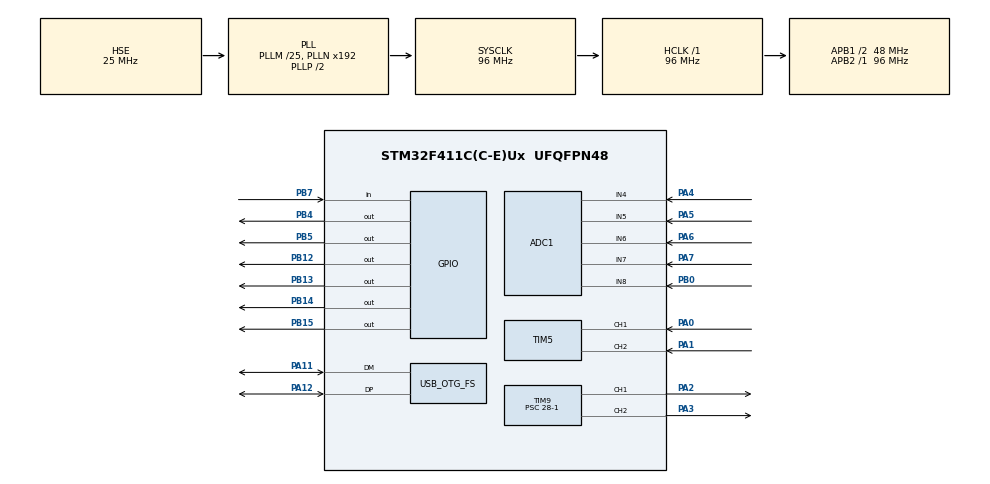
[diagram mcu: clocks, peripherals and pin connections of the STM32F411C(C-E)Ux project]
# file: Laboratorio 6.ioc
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ADC1.Channel-1\#ChannelRegularConversion=ADC_CHANNEL_4
ADC1.Channel-2\#ChannelRegularConversion=ADC_CHANNEL_5
ADC1.Channel-3\#ChannelRegularConversion=ADC_CHANNEL_6
ADC1.Channel-4\#ChannelRegularConversion=ADC_CHANNEL_7
ADC1.Channel-5\#ChannelRegularConversion=ADC_CHANNEL_8
ADC1.NbrOfConversion=5
ADC1.NbrOfConversionFlag=1
ADC1.Rank-1\#ChannelRegularConversion=1
ADC1.Rank-2\#ChannelRegularConversion=2
ADC1.Rank-3\#ChannelRegularConversion=3
ADC1.Rank-4\#ChannelRegularConversion=4
ADC1.Rank-5\#ChannelRegularConversion=5
ADC1.SamplingTime-1\#ChannelRegularConversion=ADC_SAMPLETIME_3CYCLES
ADC1.SamplingTime-2\#ChannelRegularConversion=ADC_SAMPLETIME_3CYCLES
ADC1.SamplingTime-3\#ChannelRegularConversion=ADC_SAMPLETIME_3CYCLES
ADC1.SamplingTime-4\#ChannelRegularConversion=ADC_SAMPLETIME_3CYCLES
ADC1.SamplingTime-5\#ChannelRegularConversion=ADC_SAMPLETIME_3CYCLES
ADC1.ScanConvMode=ENABLE
ADC1.master=1
Dma.ADC1.0.Direction=DMA_PERIPH_TO_MEMORY
Dma.ADC1.0.FIFOMode=DMA_FIFOMODE_DISABLE
Dma.ADC1.0.Instance=DMA2_Stream0
Dma.ADC1.0.MemDataAlignment=DMA_MDATAALIGN_HALFWORD
Dma.ADC1.0.MemInc=DMA_MINC_ENABLE
Dma.ADC1.0.Mode=DMA_CIRCULAR
Dma.ADC1.0.PeriphDataAlignment=DMA_PDATAALIGN_HALFWORD
Dma.ADC1.0.PeriphInc=DMA_PINC_DISABLE
Dma.ADC1.0.Priority=DMA_PRIORITY_LOW
Dma.Request0=ADC1
Mcu.Family=STM32F4
Mcu.Name=STM32F411C(C-E)Ux
Mcu.Package=UFQFPN48
NVIC.DMA2_Stream0_IRQn=true\:0\:0\:false\:false\:true\:false\:true\:true
NVIC.OTG_FS_IRQn=true\:0\:0\:false\:false\:true\:false\:true\:true
NVIC.PriorityGroup=NVIC_PRIORITYGROUP_4
PA0-WKUP.Signal=S_TIM5_CH1
PA1.Signal=S_TIM5_CH2
PA11.Mode=Device_Only
PA11.Signal=USB_OTG_FS_DM
PA12.Mode=Device_Only
PA12.Signal=USB_OTG_FS_DP
PA13.Mode=Serial_Wire
PA13.Signal=SYS_JTMS-SWDIO
PA14.Mode=Serial_Wire
PA14.Signal=SYS_JTCK-SWCLK
PA2.Signal=S_TIM9_CH1
PA3.Signal=S_TIM9_CH2
PA4.Signal=ADCx_IN4
PA5.Signal=ADCx_IN5
PA6.Signal=ADCx_IN6
PA7.Signal=ADCx_IN7
PB0.Signal=ADCx_IN8
PB12.Signal=GPIO_Output
PB13.Signal=GPIO_Output
PB14.Signal=GPIO_Output
PB15.Signal=GPIO_Output
PB4.Signal=GPIO_Output
PB5.Signal=GPIO_Output
PB7.Signal=GPIO_Input
PH0\ -\ OSC_IN.Mode=HSE-External-Oscillator
PH0\ -\ OSC_IN.Signal=RCC_OSC_IN
PH1\ -\ OSC_OUT.Mode=HSE-External-Oscillator
PH1\ -\ OSC_OUT.Signal=RCC_OSC_OUT
ProjectManager.HeapSize=0x200
ProjectManager.StackSize=0x400
ProjectManager.TargetToolchain=STM32CubeIDE
RCC.48MHZClocksFreq_Value=48000000
RCC.AHBFreq_Value=96000000
RCC.APB1CLKDivider=RCC_HCLK_DIV2
RCC.APB1Freq_Value=48000000
RCC.APB1TimFreq_Value=96000000
RCC.APB2Freq_Value=96000000
RCC.APB2TimFreq_Value=96000000
RCC.CortexFreq_Value=96000000
RCC.HCLKFreq_Value=96000000
RCC.HSE_VALUE=25000000
RCC.HSI_VALUE=16000000
RCC.LSE_VALUE=32768
RCC.PLLM=25
RCC.SYSCLKFreq_VALUE=96000000
RCC.SYSCLKSource=RCC_SYSCLKSOURCE_PLLCLK
RCC.VCOOutputFreq_Value=192000000
SH.ADCx_IN4.0=ADC1_IN4,IN4
SH.ADCx_IN5.0=ADC1_IN5,IN5
SH.ADCx_IN6.0=ADC1_IN6,IN6
SH.ADCx_IN7.0=ADC1_IN7,IN7
SH.ADCx_IN8.0=ADC1_IN8,IN8
SH.S_TIM5_CH1.0=TIM5_CH1,Encoder_Interface
SH.S_TIM5_CH2.0=TIM5_CH2,Encoder_Interface
SH.S_TIM9_CH1.0=TIM9_CH1,PWM Generation1 CH1
SH.S_TIM9_CH2.0=TIM9_CH2,PWM Generation2 CH2
TIM2.Prescaler=48000-1
TIM3.Prescaler=48000-1
TIM4.Prescaler=48000-1
TIM5.EncoderMode=TIM_ENCODERMODE_TI12
TIM5.IC1Filter=15
TIM5.IC1Polarity=TIM_ICPOLARITY_FALLING
TIM5.IC2Filter=15
TIM5.IC2Polarity=TIM_ICPOLARITY_FALLING
TIM9.Channel-PWM\ Generation1\ CH1=TIM_CHANNEL_1
TIM9.Channel-PWM\ Generation2\ CH2=TIM_CHANNEL_2
TIM9.Period=100-1
TIM9.Prescaler=28-1
USB_DEVICE.CLASS_NAME_FS=CDC
USB_DEVICE.VirtualMode=Cdc
USB_DEVICE.VirtualModeFS=Cdc_FS
USB_OTG_FS.VirtualMode=Device_Only
VP_TIM2_VS_ClockSourceINT.Mode=Internal
VP_TIM3_VS_ClockSourceINT.Mode=Internal
VP_TIM4_VS_ClockSourceINT.Mode=Internal
VP_TIM9_VS_ClockSourceINT.Mode=Internal
VP_USB_DEVICE_VS_USB_DEVICE_CDC_FS.Mode=CDC_FS
board=custom

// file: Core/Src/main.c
/* USER CODE BEGIN Header */
/**
  ******************************************************************************
  * @file           : main.c
  * @brief          : Main program body
  ******************************************************************************
  * @attention
  *
  * Copyright (c) 2025 STMicroelectronics.
  * All rights reserved.
  *
  * This software is licensed under terms that can be found in the LICENSE file
  * in the root directory of this software component.
  * If no LICENSE file comes with this software, it is provided AS-IS.
  *
  ******************************************************************************
  */
/* USER CODE END Header */
#include "main.h"
#include "usb_device.h"

/* USER CODE BEGIN Includes */
#include "usbd_cdc_if.h"
#include "motorDriver.h"
#include <math.h>
/* USER CODE END Includes */

ADC_HandleTypeDef hadc1;
DMA_HandleTypeDef hdma_adc1;

TIM_HandleTypeDef htim2;
TIM_HandleTypeDef htim3;
TIM_HandleTypeDef htim4;
TIM_HandleTypeDef htim5;
TIM_HandleTypeDef htim9;

void SystemClock_Config(void);
static void MX_GPIO_Init(void);
static void MX_DMA_Init(void);
static void MX_TIM2_Init(void);
static void MX_TIM3_Init(void);
static void MX_TIM5_Init(void);
static void MX_TIM9_Init(void);
static void MX_ADC1_Init(void);
static void MX_TIM4_Init(void);

/* USER CODE BEGIN 0 */
uint8_t buffer[63];
int16_t rpm = 0;
uint8_t set= 1;
float pulsos = 0;
uint32_t tiempo = 0;
int32_t dir_mm;
int16_t pwm_mm = 0;
int32_t val_pwm = 0;
float pulsos_ant = 0;
float pulsos_act = 0;
int32_t contador = 0;
int16_t rpm_f = 0;
float diametro_rueda = 38.2;
int16_t velocidad_mm_s = 0;
int16_t velocidad_rad_s = 0;
int32_t valor;
int32_t voltaje;
int16_t vel_mm_s;
int8_t velocidad_motor;

#define FILTER_LENGTH 10
float fir_coeffs[FILTER_LENGTH] = {0.1, 0.1, 0.1, 0.1, 0.1, 0.1, 0.1, 0.1, 0.1, 0.1};
float rpm_buffer[FILTER_LENGTH];
int buffer_index = 0;
int32_t contador_actual = 0;
float voltaje_float;

volatile uint8_t indexTX = 0;
volatile uint8_t datosTX [68];
volatile uint8_t indexRX = 0;
volatile uint8_t datosRX [15];

//6 lab

float distancias_mm[] = {20, 25, 30, 35, 40, 45, 50, 55, 60, 65, 70, 75, 80, 85, 90, 95, 100,
                         105, 110, 115, 120, 125, 130, 135, 140, 145, 150, 155, 160, 165,
                         170, 175, 180, 185, 190, 195, 200, 205, 210, 215, 220};
int num_puntos = 41;

uint16_t adc_sensor1[] = {2580, 2279, 1972, 1606, 1372, 1160, 998, 838, 684, 582, 506, 435,
        				  373, 335, 333, 303, 277, 253, 228, 209, 193, 180, 167, 161, 155,
						  147, 140, 136, 132, 130, 128, 124, 127, 124, 122, 122, 119, 118, 118, 118, 117};
uint16_t adc_sensor2[] = {925, 849, 752, 650, 589, 517, 479, 424, 367, 333, 306, 264,
                          250, 224, 223, 205, 189, 183, 174, 161, 150, 143, 134, 130,
                          127, 122, 116, 116, 114, 113, 115, 120, 118, 121, 121, 119, 120,
                          119, 119, 119, 120};
uint16_t adc_sensor3[] = {1071, 891, 727, 557, 464, 377, 324, 274, 242, 213, 197, 173,
                          173, 166, 166, 158, 148, 144, 140, 130, 129, 124, 121, 121,
                          123, 124, 127, 124, 124, 122, 119, 118, 120, 117, 119, 122, 120,
                          119, 119, 119, 119};
uint16_t adc_sensor4[] = {3497, 3025, 2412, 1873, 1583, 1313, 1119, 969, 809, 717, 643, 575,
                          527, 492, 4491, 467, 446, 427, 411, 392, 380, 374, 360, 356,
                          350, 340, 339, 334, 331, 329, 326, 324, 326, 326, 323, 321, 319,
                          319, 318, 316, 316};

uint16_t adcValue[5] = {0,0,0,0,0};
uint16_t adcMM[5] = {0,0,0,0,0};
float adcVoltaje[5] = {0,0,0,0,0};
char texto[64];

#define ADC_BUFFER_SIZE 10
uint16_t adc_buffer[5][ADC_BUFFER_SIZE] = {0};
uint8_t adc_buffer_index = 0;

float adc_avg[5] = {0,0,0,0,0};
uint8_t muestras = 0;

typedef struct {
	uint8_t inicio;
	uint8_t tamano;
	uint8_t *datos;
	uint8_t crc;
	uint8_t fin;

}PAQUETE;

PAQUETE pk1;

int16_t aplicarFiltroFIR(int16_t RPM_actual);
int8_t serializarPaquete(const PAQUETE* paquete, uint8_t *buffer);

uint8_t calcularCRC(uint8_t *datos, uint8_t tam){
	uint8_t crc =0;
	for(int i = 0; i < tam; i++ ){
		crc ^= datos[i];
	}
	return crc;
}

void datos_enviar(int16_t rev, int32_t contador, uint32_t tiempo, int16_t mm_s, int16_t rad_s,
                  uint16_t adc1, uint16_t adc2, uint16_t adc3, uint16_t adc4,
                  float volt1, float volt2, float volt3, float volt4,
                  uint16_t dist1, uint16_t dist2, uint16_t dist3, uint16_t dist4) {

    int idxx = 0;

    buffer[idxx++] = 1;
    buffer[idxx++] = (rev >> 8) & 0xFF;
    buffer[idxx++] = rev & 0xFF;

    buffer[idxx++] = 2;
    buffer[idxx++] = (contador >> 24) & 0xFF;
    buffer[idxx++] = (contador >> 16) & 0xFF;
    buffer[idxx++] = (contador >> 8) & 0xFF;
    buffer[idxx++] = contador & 0xFF;

    buffer[idxx++] = 3;
    buffer[idxx++] = (tiempo >> 24) & 0xFF;
    buffer[idxx++] = (tiempo >> 16) & 0xFF;
    buffer[idxx++] = (tiempo >> 8) & 0xFF;
    buffer[idxx++] = tiempo & 0xFF;

    buffer[idxx++] = 4;
    buffer[idxx++] = (mm_s >> 8) & 0xFF;
    buffer[idxx++] = mm_s & 0xFF;

    buffer[idxx++] = 5;
    buffer[idxx++] = (rad_s >> 8) & 0xFF;
    buffer[idxx++] = rad_s & 0xFF;

    buffer[idxx++] = 6;
    buffer[idxx++] = (adc1 >> 8) & 0xFF;
    buffer[idxx++] = adc1 & 0xFF;

    buffer[idxx++] = 7;
    buffer[idxx++] = (adc2 >> 8) & 0xFF;
    buffer[idxx++] = adc2 & 0xFF;

    buffer[idxx++] = 8;
    buffer[idxx++] = (adc3 >> 8) & 0xFF;
    buffer[idxx++] = adc3 & 0xFF;

    buffer[idxx++] = 9;
    buffer[idxx++] = (adc4 >> 8) & 0xFF;
    buffer[idxx++] = adc4 & 0xFF;

    buffer[idxx++] = 10;
    uint8_t* volt1_bytes = (uint8_t*)&volt1;
    buffer[idxx++] = volt1_bytes[0];
    buffer[idxx++] = volt1_bytes[1];
    buffer[idxx++] = volt1_bytes[2];
    buffer[idxx++] = volt1_bytes[3];

    buffer[idxx++] = 11;
    uint8_t* volt2_bytes = (uint8_t*)&volt2;
    buffer[idxx++] = volt2_bytes[0];
    buffer[idxx++] = volt2_bytes[1];
    buffer[idxx++] = volt2_bytes[2];
    buffer[idxx++] = volt2_bytes[3];

    buffer[idxx++] = 12;
    uint8_t* volt3_bytes = (uint8_t*)&volt3;
    buffer[idxx++] = volt3_bytes[0];
    buffer[idxx++] = volt3_bytes[1];
    buffer[idxx++] = volt3_bytes[2];
    buffer[idxx++] = volt3_bytes[3];

    buffer[idxx++] = 13;
    uint8_t* volt4_bytes = (uint8_t*)&volt4;
    buffer[idxx++] = volt4_bytes[0];
    buffer[idxx++] = volt4_bytes[1];
    buffer[idxx++] = volt4_bytes[2];
    buffer[idxx++] = volt4_bytes[3];

    buffer[idxx++] = 14;
    buffer[idxx++] = (dist1 >> 8) & 0xFF;
    buffer[idxx++] = dist1 & 0xFF;

    buffer[idxx++] = 15;
    buffer[idxx++] = (dist2 >> 8) & 0xFF;
    buffer[idxx++] = dist2 & 0xFF;

    buffer[idxx++] = 16;
    buffer[idxx++] = (dist3 >> 8) & 0xFF;
    buffer[idxx++] = dist3 & 0xFF;

    buffer[idxx++] = 17;
    buffer[idxx++] = (dist4 >> 8) & 0xFF;
    buffer[idxx++] = dist4 & 0xFF;

    EnviarPaquete(buffer, idxx);
}

void EnviarPaquete(uint8_t *dat, uint8_t tam){
	pk1.inicio = 0x09;
	pk1.tamano = tam + 4; //(OverHead)
	//memcpy (&pk1.datos[0], dat, tam+4);
	pk1.datos = dat;
	pk1.crc = 0x00;
	pk1.fin = 0x07;

	int numDatos = serializarPaquete(&pk1, datosTX);
	CDC_Transmit_FS(datosTX, numDatos);
}

int8_t serializarPaquete(const PAQUETE* paquete, uint8_t *buffer){

	int idx=0;

	if(!paquete || !buffer)return -1;

	buffer [idx++]= paquete -> inicio;
	buffer [idx++]= paquete -> tamano;
	if(paquete -> datos && paquete -> tamano > 3){
		memcpy( & buffer[idx], paquete -> datos, paquete -> tamano - 3);
		idx = idx + paquete -> tamano - 3;
	}
	uint8_t ss = idx;
	buffer[idx++] = calcularCRC(buffer, ss);
	buffer[idx++] = paquete -> fin;
	return idx;
}

void CDC_ReceiveCallBack(uint8_t* Buf, uint32_t Len){
	memcpy(datosRX,Buf, Len);
	indexRX = Len;
}

void vel(int16_t rpm_s) {
    velocidad_mm_s = (3.1416 * diametro_rueda * rpm_s) / 60.0;
    velocidad_rad_s = (2 * 3.1416 * rpm_s) / 60.0;
}

void calculo_rpm() {
    if (set == 1) {
        __HAL_TIM_SET_COUNTER(&htim3, 0);
        set = 0;
    }

    if (__HAL_TIM_GET_COUNTER(&htim3) >= 200) {
        __HAL_TIM_SET_COUNTER(&htim3, 0);

        contador_actual = (int32_t)__HAL_TIM_GET_COUNTER(&htim5);
        pulsos_act = abs(contador_actual) / 1431.0;
        pulsos = pulsos_act - pulsos_ant;
        pulsos_ant = pulsos_act;

        rpm = abs(pulsos * 600);
        if (rpm < 0) rpm = 0;
        rpm_f = aplicarFiltroFIR(rpm);
        vel(rpm_f);
    }
}

void conversor(float volt){

    if (volt < 0){
    	volt = 0;
    }
    else if (volt > 7.5){
    	volt = 7.5;
    }
    else{
     val_pwm = (int32_t)((volt * (-100)) / (7.5));
    }

}

void conversor_mm_s(int32_t velocidad) {

    if (velocidad > 744){
    	velocidad = 744;
    }

    pwm_mm = ((velocidad*100) / 744) * (-1);
}

void instruction(){

	if(indexRX != 0){
		  if(datosRX[0] == 0x0A){
			  velocidad_motor = 100;
			  motores(0, velocidad_motor);
		  }
		  else if(datosRX[0] == 0x0B){
			  velocidad_motor = -100;
			  motores(0, velocidad_motor);
		  }
		  else if(datosRX[0] == 0x0C){
			  velocidad_motor = 0;
			  motores(0, velocidad_motor);
		  }
		  else if(datosRX[0] == 0x09){
			  valor = (datosRX[1]);

			  velocidad_motor = valor * (-1);
			  motores(0, velocidad_motor);
		  }
		  else if(datosRX[0] == 0x07){

			  memcpy(&voltaje_float, &datosRX[1], sizeof(float));

			  if (voltaje_float < 0) {
				  voltaje_float = 0;
			  }
			  else if (voltaje_float > 7.5) {
				  voltaje_float = 7.5;
			  }

			  conversor(voltaje_float);
			  velocidad_motor = val_pwm;
			  motores(0, velocidad_motor);
		  }
		  else if(datosRX[0] == 0x08){
			  vel_mm_s =(datosRX[1] << 8) | (datosRX[2]);

			  conversor_mm_s(vel_mm_s);
			  velocidad_motor = pwm_mm;
			  motores(0, velocidad_motor);
		  }

	}
}

int16_t aplicarFiltroFIR(int16_t rpm_actual){
	rpm_buffer[buffer_index] = rpm_actual;
	buffer_index = (buffer_index + 1) % FILTER_LENGTH;

	float filtered_rpm = 0.0;
	for (int i = 0; i < FILTER_LENGTH; i++) {
		int idx = (buffer_index - i + FILTER_LENGTH) % FILTER_LENGTH;
		filtered_rpm += fir_coeffs[i] * rpm_buffer[idx];
	}
	return filtered_rpm;
}

void promedio_adc(void) {
    for(int i = 0; i < 5; i++) {
        adc_buffer[i][adc_buffer_index] = adcValue[i];
    }

    adc_buffer_index++;
    muestras++;

    if(muestras >= ADC_BUFFER_SIZE) {
        for(int i = 0; i < 5; i++) {
            uint32_t sum = 0;
            for(int j = 0; j < ADC_BUFFER_SIZE; j++) {
                sum += adc_buffer[i][j];
            }
            adc_avg[i] = (float)sum / ADC_BUFFER_SIZE;
            adcVoltaje[i] = (adc_avg[i] * 3.3) / 4095.0;
        }

        adc_buffer_index = 0;
        muestras = 0;
    }
}

int abc;
void calibracion(){
	int vrb = 0;
	__HAL_TIM_SET_COUNTER(&htim4 , 0);
	abc=__HAL_TIM_GET_COUNTER(&htim4);
	while (abc >= 0) {
		HAL_GPIO_WritePin(GPIOB, GPIO_PIN_12, 1);

		while ((abc=__HAL_TIM_GET_COUNTER(&htim4)) >= 2) {
			HAL_GPIO_WritePin(GPIOB, GPIO_PIN_12, 0);
			HAL_GPIO_WritePin(GPIOB, GPIO_PIN_13, 1);

			while ((abc=__HAL_TIM_GET_COUNTER(&htim4)) >= 4) {
				HAL_GPIO_WritePin(GPIOB, GPIO_PIN_13, 0);
				HAL_GPIO_WritePin(GPIOB, GPIO_PIN_14, 1);

				while ((abc=__HAL_TIM_GET_COUNTER(&htim4)) >= 6) {
					HAL_GPIO_WritePin(GPIOB, GPIO_PIN_14, 0);
					HAL_GPIO_WritePin(GPIOB, GPIO_PIN_15, 1);

					if ((abc=__HAL_TIM_GET_COUNTER(&htim4)) >= 8) {
						HAL_GPIO_WritePin(GPIOB, GPIO_PIN_15, 0);
						vrb = 1;
						break;

					}
				}

				if(vrb == 1){
					break;
				}

			}

			if(vrb == 1){
				break;
			}
		}

		if(vrb == 1){
			break;
		}
	}

}

float interpolar_distancia(uint16_t adc_recibido, uint16_t *adc_tabla, float *distancias, int num_puntos) {
    if (adc_recibido >= adc_tabla[0]) {
        return distancias[0];
    }
    if (adc_recibido <= adc_tabla[num_puntos - 1]) {
        return distancias[num_puntos - 1];
    }

    for (int i = 0; i < num_puntos - 1; i++) {
        if (adc_recibido <= adc_tabla[i] && adc_recibido >= adc_tabla[i + 1]) {
            float x0 = adc_tabla[i];
            float x1 = adc_tabla[i + 1];
            float y0 = distancias[i];
            float y1 = distancias[i + 1];

            float m = (y1 - y0) / (x1 - x0);
            float b = y0 - m * x0;
            return m * adc_recibido + b;
        }
    }

    return distancias[num_puntos - 1];
}

void calculo_mm() {
    adcMM[0] = (uint16_t)interpolar_distancia((uint16_t)adc_avg[0], adc_sensor1, distancias_mm, num_puntos);
    adcMM[1] = (uint16_t)interpolar_distancia((uint16_t)adc_avg[1], adc_sensor2, distancias_mm, num_puntos);
    adcMM[2] = (uint16_t)interpolar_distancia((uint16_t)adc_avg[2], adc_sensor3, distancias_mm, num_puntos);
    adcMM[3] = (uint16_t)interpolar_distancia((uint16_t)adc_avg[3], adc_sensor4, distancias_mm, num_puntos);
}

/* USER CODE END 0 */

int main(void)
{

  /* MCU Configuration--------------------------------------------------------*/

  /* Reset of all peripherals, Initializes the Flash interface and the Systick. */
  HAL_Init();

  /* Configure the system clock */
  SystemClock_Config();

  /* Initialize all configured peripherals */
  MX_GPIO_Init();
  MX_DMA_Init();
  MX_TIM2_Init();
  MX_TIM3_Init();
  MX_USB_DEVICE_Init();
  MX_TIM5_Init();
  MX_TIM9_Init();
  MX_ADC1_Init();
  MX_TIM4_Init();
  /* USER CODE BEGIN 2 */
  motoresInit(&htim9, TIM_CHANNEL_1, TIM_CHANNEL_2);
  HAL_TIM_Base_Start(&htim2);
  HAL_TIM_Base_Start(&htim3);
  HAL_TIM_Base_Start(&htim4);
  HAL_TIM_Encoder_Start(&htim5, TIM_CHANNEL_ALL);

  HAL_ADC_Start_DMA(&hadc1, adcValue, 5);

  /* USER CODE END 2 */

  /* Infinite loop */
  /* USER CODE BEGIN WHILE */
  while (1)
  {

	  instruction();

	  calculo_rpm();

	  contador = ((int32_t)__HAL_TIM_GET_COUNTER(&htim5)) /1431;
	  tiempo = (__HAL_TIM_GET_COUNTER(&htim2)/2);

	  calibracion();
	  promedio_adc();
	  calculo_mm();

	  /*datos_enviar(rpm_f, contador, tiempo, velocidad_mm_s, velocidad_rad_s,
	                   (uint16_t)adc_avg[0], (uint16_t)adc_avg[1], (uint16_t)adc_avg[2], (uint16_t)adc_avg[3],
	                   adcVoltaje[0], adcVoltaje[1], adcVoltaje[2], adcVoltaje[3],
	                   adcMM[0], adcMM[1], adcMM[2], adcMM[3]);*/

	  datos_enviar(rpm_f, contador, tiempo, velocidad_mm_s, velocidad_rad_s,
	                   adcValue[0], adcValue[1], adcValue[2], adcValue[3],
	                   adcVoltaje[0], adcVoltaje[1], adcVoltaje[2], adcVoltaje[3],
	                   adcMM[0], adcMM[1], adcMM[2], adcMM[3]);

    /* USER CODE END WHILE */

  }
}

void SystemClock_Config(void)
{
  RCC_OscInitTypeDef RCC_OscInitStruct = {0};
  RCC_ClkInitTypeDef RCC_ClkInitStruct = {0};

  /** Configure the main internal regulator output voltage
  */
  __HAL_RCC_PWR_CLK_ENABLE();
  __HAL_PWR_VOLTAGESCALING_CONFIG(PWR_REGULATOR_VOLTAGE_SCALE1);

  /** Initializes the RCC Oscillators according to the specified parameters
  * in the RCC_OscInitTypeDef structure.
  */
  RCC_OscInitStruct.OscillatorType = RCC_OSCILLATORTYPE_HSE;
  RCC_OscInitStruct.HSEState = RCC_HSE_ON;
  RCC_OscInitStruct.PLL.PLLState = RCC_PLL_ON;
  RCC_OscInitStruct.PLL.PLLSource = RCC_PLLSOURCE_HSE;
  RCC_OscInitStruct.PLL.PLLM = 25;
  RCC_OscInitStruct.PLL.PLLN = 192;
  RCC_OscInitStruct.PLL.PLLP = RCC_PLLP_DIV2;
  RCC_OscInitStruct.PLL.PLLQ = 4;
  if (HAL_RCC_OscConfig(&RCC_OscInitStruct) != HAL_OK)
  {
    Error_Handler();
  }

  /** Initializes the CPU, AHB and APB buses clocks
  */
  RCC_ClkInitStruct.ClockType = RCC_CLOCKTYPE_HCLK|RCC_CLOCKTYPE_SYSCLK
                              |RCC_CLOCKTYPE_PCLK1|RCC_CLOCKTYPE_PCLK2;
  RCC_ClkInitStruct.SYSCLKSource = RCC_SYSCLKSOURCE_PLLCLK;
  RCC_ClkInitStruct.AHBCLKDivider = RCC_SYSCLK_DIV1;
  RCC_ClkInitStruct.APB1CLKDivider = RCC_HCLK_DIV2;
  RCC_ClkInitStruct.APB2CLKDivider = RCC_HCLK_DIV1;

  if (HAL_RCC_ClockConfig(&RCC_ClkInitStruct, FLASH_LATENCY_3) != HAL_OK)
  {
    Error_Handler();
  }
}

static void MX_ADC1_Init(void)
{

  ADC_ChannelConfTypeDef sConfig = {0};

  /** Configure the global features of the ADC (Clock, Resolution, Data Alignment and number of conversion)
  */
  hadc1.Instance = ADC1;
  hadc1.Init.ClockPrescaler = ADC_CLOCK_SYNC_PCLK_DIV4;
  hadc1.Init.Resolution = ADC_RESOLUTION_12B;
  hadc1.Init.ScanConvMode = ENABLE;
  hadc1.Init.ContinuousConvMode = DISABLE;
  hadc1.Init.DiscontinuousConvMode = DISABLE;
  hadc1.Init.ExternalTrigConvEdge = ADC_EXTERNALTRIGCONVEDGE_NONE;
  hadc1.Init.ExternalTrigConv = ADC_SOFTWARE_START;
  hadc1.Init.DataAlign = ADC_DATAALIGN_RIGHT;
  hadc1.Init.NbrOfConversion = 5;
  hadc1.Init.DMAContinuousRequests = DISABLE;
  hadc1.Init.EOCSelection = ADC_EOC_SINGLE_CONV;
  if (HAL_ADC_Init(&hadc1) != HAL_OK)
  {
    Error_Handler();
  }

  /** Configure for the selected ADC regular channel its corresponding rank in the sequencer and its sample time.
  */
  sConfig.Channel = ADC_CHANNEL_4;
  sConfig.Rank = 1;
  sConfig.SamplingTime = ADC_SAMPLETIME_3CYCLES;
  if (HAL_ADC_ConfigChannel(&hadc1, &sConfig) != HAL_OK)
  {
    Error_Handler();
  }

  /** Configure for the selected ADC regular channel its corresponding rank in the sequencer and its sample time.
  */
  sConfig.Channel = ADC_CHANNEL_5;
  sConfig.Rank = 2;
  if (HAL_ADC_ConfigChannel(&hadc1, &sConfig) != HAL_OK)
  {
    Error_Handler();
  }

  /** Configure for the selected ADC regular channel its corresponding rank in the sequencer and its sample time.
  */
  sConfig.Channel = ADC_CHANNEL_6;
  sConfig.Rank = 3;
  if (HAL_ADC_ConfigChannel(&hadc1, &sConfig) != HAL_OK)
  {
    Error_Handler();
  }

  /** Configure for the selected ADC regular channel its corresponding rank in the sequencer and its sample time.
  */
  sConfig.Channel = ADC_CHANNEL_7;
  sConfig.Rank = 4;
  if (HAL_ADC_ConfigChannel(&hadc1, &sConfig) != HAL_OK)
  {
    Error_Handler();
  }

  /** Configure for the selected ADC regular channel its corresponding rank in the sequencer and its sample time.
  */
  sConfig.Channel = ADC_CHANNEL_8;
  sConfig.Rank = 5;
  if (HAL_ADC_ConfigChannel(&hadc1, &sConfig) != HAL_OK)
  {
    Error_Handler();
  }

}

static void MX_TIM2_Init(void)
{

  TIM_ClockConfigTypeDef sClockSourceConfig = {0};
  TIM_MasterConfigTypeDef sMasterConfig = {0};

  htim2.Instance = TIM2;
  htim2.Init.Prescaler = 48000-1;
  htim2.Init.CounterMode = TIM_COUNTERMODE_UP;
  htim2.Init.Period = 4294967295;
  htim2.Init.ClockDivision = TIM_CLOCKDIVISION_DIV1;
  htim2.Init.AutoReloadPreload = TIM_AUTORELOAD_PRELOAD_DISABLE;
  if (HAL_TIM_Base_Init(&htim2) != HAL_OK)
  {
    Error_Handler();
  }
  sClockSourceConfig.ClockSource = TIM_CLOCKSOURCE_INTERNAL;
  if (HAL_TIM_ConfigClockSource(&htim2, &sClockSourceConfig) != HAL_OK)
  {
    Error_Handler();
  }
  sMasterConfig.MasterOutputTrigger = TIM_TRGO_RESET;
  sMasterConfig.MasterSlaveMode = TIM_MASTERSLAVEMODE_DISABLE;
  if (HAL_TIMEx_MasterConfigSynchronization(&htim2, &sMasterConfig) != HAL_OK)
  {
    Error_Handler();
  }

}

static void MX_TIM3_Init(void)
{

  TIM_ClockConfigTypeDef sClockSourceConfig = {0};
  TIM_MasterConfigTypeDef sMasterConfig = {0};

  htim3.Instance = TIM3;
  htim3.Init.Prescaler = 48000-1;
  htim3.Init.CounterMode = TIM_COUNTERMODE_UP;
  htim3.Init.Period = 65535;
  htim3.Init.ClockDivision = TIM_CLOCKDIVISION_DIV1;
  htim3.Init.AutoReloadPreload = TIM_AUTORELOAD_PRELOAD_DISABLE;
  if (HAL_TIM_Base_Init(&htim3) != HAL_OK)
  {
    Error_Handler();
  }
  sClockSourceConfig.ClockSource = TIM_CLOCKSOURCE_INTERNAL;
  if (HAL_TIM_ConfigClockSource(&htim3, &sClockSourceConfig) != HAL_OK)
  {
    Error_Handler();
  }
  sMasterConfig.MasterOutputTrigger = TIM_TRGO_RESET;
  sMasterConfig.MasterSlaveMode = TIM_MASTERSLAVEMODE_DISABLE;
  if (HAL_TIMEx_MasterConfigSynchronization(&htim3, &sMasterConfig) != HAL_OK)
  {
    Error_Handler();
  }

}

static void MX_TIM4_Init(void)
{

  TIM_ClockConfigTypeDef sClockSourceConfig = {0};
  TIM_MasterConfigTypeDef sMasterConfig = {0};

  htim4.Instance = TIM4;
  htim4.Init.Prescaler = 48000-1;
  htim4.Init.CounterMode = TIM_COUNTERMODE_UP;
  htim4.Init.Period = 65535;
  htim4.Init.ClockDivision = TIM_CLOCKDIVISION_DIV1;
  htim4.Init.AutoReloadPreload = TIM_AUTORELOAD_PRELOAD_DISABLE;
  if (HAL_TIM_Base_Init(&htim4) != HAL_OK)
  {
    Error_Handler();
  }
  sClockSourceConfig.ClockSource = TIM_CLOCKSOURCE_INTERNAL;
  if (HAL_TIM_ConfigClockSource(&htim4, &sClockSourceConfig) != HAL_OK)
  {
    Error_Handler();
  }
  sMasterConfig.MasterOutputTrigger = TIM_TRGO_RESET;
  sMasterConfig.MasterSlaveMode = TIM_MASTERSLAVEMODE_DISABLE;
  if (HAL_TIMEx_MasterConfigSynchronization(&htim4, &sMasterConfig) != HAL_OK)
  {
    Error_Handler();
  }

}

static void MX_TIM5_Init(void)
{

  TIM_Encoder_InitTypeDef sConfig = {0};
  TIM_MasterConfigTypeDef sMasterConfig = {0};

  htim5.Instance = TIM5;
  htim5.Init.Prescaler = 0;
  htim5.Init.CounterMode = TIM_COUNTERMODE_UP;
  htim5.Init.Period = 4294967295;
  htim5.Init.ClockDivision = TIM_CLOCKDIVISION_DIV1;
  htim5.Init.AutoReloadPreload = TIM_AUTORELOAD_PRELOAD_DISABLE;
  sConfig.EncoderMode = TIM_ENCODERMODE_TI12;
  sConfig.IC1Polarity = TIM_ICPOLARITY_FALLING;
  sConfig.IC1Selection = TIM_ICSELECTION_DIRECTTI;
  sConfig.IC1Prescaler = TIM_ICPSC_DIV1;
  sConfig.IC1Filter = 15;
  sConfig.IC2Polarity = TIM_ICPOLARITY_FALLING;
  sConfig.IC2Selection = TIM_ICSELECTION_DIRECTTI;
  sConfig.IC2Prescaler = TIM_ICPSC_DIV1;
  sConfig.IC2Filter = 15;
  if (HAL_TIM_Encoder_Init(&htim5, &sConfig) != HAL_OK)
  {
    Error_Handler();
  }
  sMasterConfig.MasterOutputTrigger = TIM_TRGO_RESET;
  sMasterConfig.MasterSlaveMode = TIM_MASTERSLAVEMODE_DISABLE;
  if (HAL_TIMEx_MasterConfigSynchronization(&htim5, &sMasterConfig) != HAL_OK)
  {
    Error_Handler();
  }

}

static void MX_TIM9_Init(void)
{

  TIM_ClockConfigTypeDef sClockSourceConfig = {0};
  TIM_OC_InitTypeDef sConfigOC = {0};

  htim9.Instance = TIM9;
  htim9.Init.Prescaler = 28-1;
  htim9.Init.CounterMode = TIM_COUNTERMODE_UP;
  htim9.Init.Period = 100-1;
  htim9.Init.ClockDivision = TIM_CLOCKDIVISION_DIV1;
  htim9.Init.AutoReloadPreload = TIM_AUTORELOAD_PRELOAD_DISABLE;
  if (HAL_TIM_Base_Init(&htim9) != HAL_OK)
  {
    Error_Handler();
  }
  sClockSourceConfig.ClockSource = TIM_CLOCKSOURCE_INTERNAL;
  if (HAL_TIM_ConfigClockSource(&htim9, &sClockSourceConfig) != HAL_OK)
  {
    Error_Handler();
  }
  if (HAL_TIM_PWM_Init(&htim9) != HAL_OK)
  {
    Error_Handler();
  }
  sConfigOC.OCMode = TIM_OCMODE_PWM1;
  sConfigOC.Pulse = 0;
  sConfigOC.OCPolarity = TIM_OCPOLARITY_HIGH;
  sConfigOC.OCFastMode = TIM_OCFAST_DISABLE;
  if (HAL_TIM_PWM_ConfigChannel(&htim9, &sConfigOC, TIM_CHANNEL_1) != HAL_OK)
  {
    Error_Handler();
  }
  if (HAL_TIM_PWM_ConfigChannel(&htim9, &sConfigOC, TIM_CHANNEL_2) != HAL_OK)
  {
    Error_Handler();
  }
  HAL_TIM_MspPostInit(&htim9);

}

static void MX_DMA_Init(void)
{

  /* DMA controller clock enable */
  __HAL_RCC_DMA2_CLK_ENABLE();

  /* DMA interrupt init */
  /* DMA2_Stream0_IRQn interrupt configuration */
  HAL_NVIC_SetPriority(DMA2_Stream0_IRQn, 0, 0);
  HAL_NVIC_EnableIRQ(DMA2_Stream0_IRQn);

}

static void MX_GPIO_Init(void)
{
  GPIO_InitTypeDef GPIO_InitStruct = {0};

  /* GPIO Ports Clock Enable */
  __HAL_RCC_GPIOH_CLK_ENABLE();
  __HAL_RCC_GPIOA_CLK_ENABLE();
  __HAL_RCC_GPIOB_CLK_ENABLE();

  /*Configure GPIO pin Output Level */
  HAL_GPIO_WritePin(GPIOB, GPIO_PIN_12|GPIO_PIN_13|GPIO_PIN_14|GPIO_PIN_15
                          |GPIO_PIN_4|GPIO_PIN_5, GPIO_PIN_RESET);

  /*Configure GPIO pins : PB12 PB13 PB14 PB15
                           PB4 PB5 */
  GPIO_InitStruct.Pin = GPIO_PIN_12|GPIO_PIN_13|GPIO_PIN_14|GPIO_PIN_15
                          |GPIO_PIN_4|GPIO_PIN_5;
  GPIO_InitStruct.Mode = GPIO_MODE_OUTPUT_PP;
  GPIO_InitStruct.Pull = GPIO_NOPULL;
  GPIO_InitStruct.Speed = GPIO_SPEED_FREQ_LOW;
  HAL_GPIO_Init(GPIOB, &GPIO_InitStruct);

  /*Configure GPIO pin : PB7 */
  GPIO_InitStruct.Pin = GPIO_PIN_7;
  GPIO_InitStruct.Mode = GPIO_MODE_INPUT;
  GPIO_InitStruct.Pull = GPIO_NOPULL;
  HAL_GPIO_Init(GPIOB, &GPIO_InitStruct);

}

/* USER CODE BEGIN 4 */
void HAL_ADC_ConvCpltCallback(ADC_HandleTypeDef *hadc)
{
	//promedio_adc();
	HAL_ADC_Start_DMA(&hadc1, adcValue, 5);
}
/* USER CODE END 4 */

void Error_Handler(void)
{
  __disable_irq();
  while (1)
  {
  }
}
